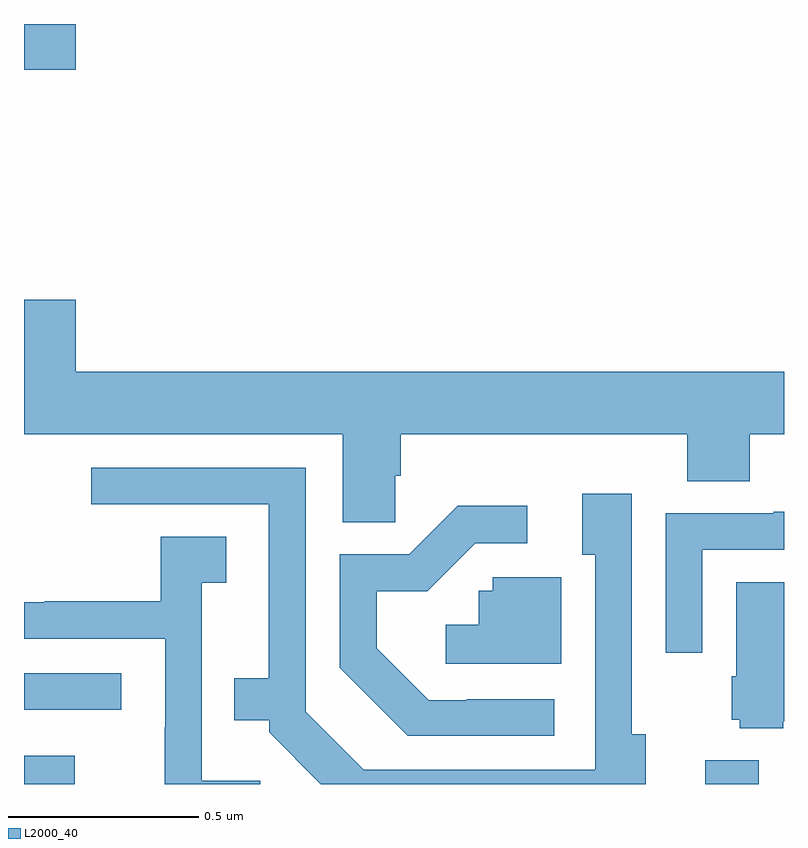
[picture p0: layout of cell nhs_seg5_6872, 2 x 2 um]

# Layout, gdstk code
import gdstk
lib = gdstk.Library(unit=1e-6, precision=1e-09)
def R(c, l, rs):  # rectangles x0, y0, x1, y1
    for r in rs: c.add(gdstk.rectangle(r[:2], r[2:], *l))
def P(c, l, *ps):  # polygons
    for p in ps: c.add(gdstk.Polygon(p, *l))
L2000_40 = (2000, 40)

nhs_seg5_6872 = lib.new_cell('nhs_seg5_6872')
R(nhs_seg5_6872, L2000_40, [(201,895.799,201.133,895.873), (202.793,895.799,202.933,895.861), (201,895.995,201.256,896.091), (201,897.678,201.136,897.799)])
P(nhs_seg5_6872, L2000_40, [(201.977,896.61),(201.992,896.61),(201.992,896.72),(202.745,896.72),(202.745,896.596),(202.91,896.596),(202.91,896.72),(203,896.72),(203,896.884),(201.136,896.884),(201.136,897.073),(201,897.073),(201,896.72),(201.839,896.72),(201.839,896.488),(201.977,896.488)],
  [(202.636,895.93),(202.599,895.93),(202.599,896.563),(202.469,896.563),(202.469,896.402),(202.503,896.402),(202.503,895.836),(201.894,895.836),(201.741,895.989),(201.741,896.631),(201.177,896.631),(201.177,896.535),(201.644,896.535),(201.644,896.077),(201.553,896.077),(201.553,895.967),(201.645,895.967),(201.645,895.935),(201.781,895.799),(202.636,895.799)],
  [(202.396,896.022),(202.165,896.022),(202.165,896.019),(202.065,896.019),(201.928,896.156),(201.928,896.306),(202.061,896.306),(202.188,896.433),(202.324,896.433),(202.324,896.531),(202.142,896.531),(202.014,896.403),(201.831,896.403),(201.831,896.105),(202.01,895.926),(202.396,895.926)],
  [(202.785,896.415),(203,896.415),(203,896.515),(202.973,896.515),(202.973,896.511),(202.689,896.511),(202.689,896.145),(202.785,896.145)],
  [(201.622,895.807),(201.468,895.807),(201.468,896.329),(201.532,896.329),(201.532,896.45),(201.36,896.45),(201.36,896.28),(201.055,896.28),(201.055,896.277),(201,896.277),(201,896.181),(201.372,896.181),(201.372,895.949),(201.37,895.949),(201.37,895.799),(201.622,895.799)],
  [(202.414,896.343),(202.233,896.343),(202.233,896.307),(202.197,896.307),(202.197,896.218),(202.11,896.218),(202.11,896.115),(202.414,896.115)],
  [(202.998,895.964),(203,895.964),(203,896.33),(202.874,896.33),(202.874,896.082),(202.862,896.082),(202.862,895.968),(202.884,895.968),(202.884,895.946),(202.998,895.946)])

lib.write_gds('nhs_seg5_6872.gds')
